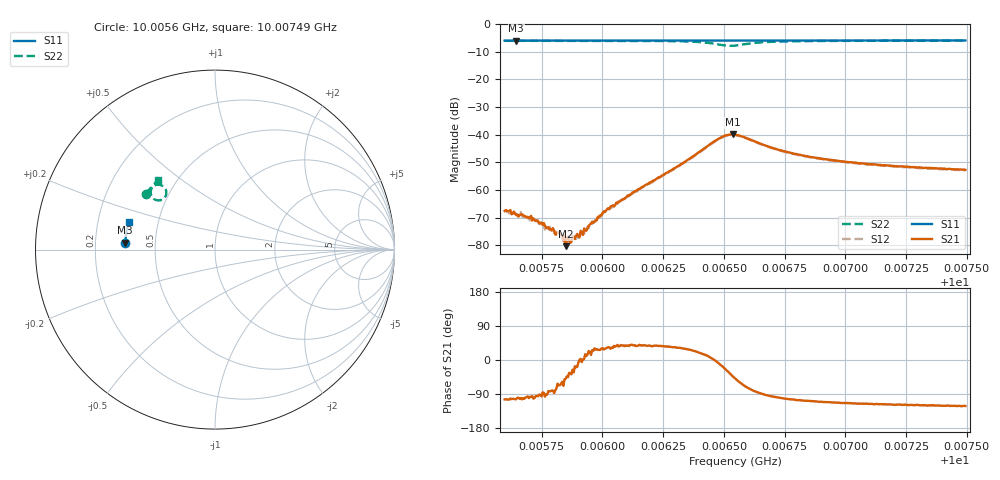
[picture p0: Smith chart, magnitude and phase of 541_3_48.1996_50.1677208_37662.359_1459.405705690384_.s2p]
#  HZ  S  RI  R  50.00
! Rohde & Schwarz Vector Network Analyzer
! Rohde-Schwarz,ZNB20-2Port,1311601062101988,3.16
! Created: UTC 3/20/2024, 12:00:18 PM
! freq[Hz]  re:S11  im:S11  re:S21  im:S21  re:S12  im:S12  re:S22  im:S22
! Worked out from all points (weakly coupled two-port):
!   401 points, 10.0056 GHz to 10.00749 GHz, reference 50 ohm
!   highest |S21| = -39.92 dB at 10.00654 GHz (marker M1); lowest = -80.3 dB at 10.00585 GHz (marker M2)
!   lowest |S11| = -6.0 dB at 10.00564 GHz (marker M3), VSWR 3.01, Z = 16.6 + j1.71 ohm
!   |S11| at or under -10 dB: nowhere
!   |S22| runs from -7.9 to -6.0 dB; largest |S21 - S12| = 0.00064
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1.0005597e10  -0.5001 0.0354  -0.000101 -0.000407  -0.000117 -0.000413  -0.3865 0.312
1.0005645e10  -0.4998 0.0385  -8.39e-05 -0.000347  -5.37e-05 -0.00035  -0.3844 0.3148
1.0005673e10  -0.4999 0.0404  -6.39e-05 -0.000349  -3.97e-05 -0.000328  -0.3832 0.3166
1.0005711e10  -0.4997 0.0429  -2.57e-05 -0.000279  -2.9e-05 -0.000301  -0.3814 0.3188
1.000573e10  -0.4997 0.0441  -2.48e-05 -0.000281  1.18e-06 -0.000282  -0.3804 0.32
1.0005768e10  -0.4995 0.0466  -2.5e-06 -0.000211  4.15e-05 -0.000211  -0.3787 0.3222
1.0005825e10  -0.4991 0.0502  6.4e-05 -0.000148  6.09e-05 -0.00016  -0.3758 0.3258
1.0005849e10  -0.4991 0.0519  6.28e-05 -7.36e-05  5.96e-05 -0.000107  -0.3744 0.3273
1.0005858e10  -0.499 0.0525  9.96e-05 -0.0001  7.9e-05 -9.34e-05  -0.3741 0.3279
1.0005877e10  -0.499 0.0536  0.000123 -5.91e-05  0.000123 -8.83e-05  -0.373 0.329
1.0005915e10  -0.4987 0.0559  0.000167 -1.59e-05  0.000171 7.13e-06  -0.3708 0.3316
1.000601e10  -0.4982 0.0623  0.000348 0.000198  0.000364 0.000204  -0.3647 0.3379
1.0006233e10  -0.4965 0.0767  0.00137 0.00103  0.00126 0.00105  -0.3442 0.3542
1.0006399e10  -0.495 0.0875  0.0046 0.00164  0.00438 0.00182  -0.3052 0.3605
1.0006479e10  -0.4936 0.0924  0.00842 -0.00129  0.00832 -0.00082  -0.2721 0.3282
1.0006536e10  -0.493 0.0954  0.00738 -0.00689  0.00762 -0.00633  -0.2914 0.2805
1.0006546e10  -0.493 0.0959  0.00664 -0.0075  0.00688 -0.007  -0.2997 0.2765
1.0006617e10  -0.4926 0.1004  0.0014 -0.00777  0.00179 -0.00755  -0.3467 0.2888
1.0006721e10  -0.4918 0.1072  -0.00082 -0.00533  -0.000549 -0.0053  -0.3583 0.3217
1.0006863e10  -0.4902 0.1164  -0.00123 -0.00373  -0.00108 -0.00368  -0.3522 0.3447
1.0007181e10  -0.4856 0.1364  -0.00125 -0.00246  -0.00113 -0.00248  -0.3344 0.3708
1.0007494e10  -0.4804 0.1561  -0.00121 -0.00198  -0.0011 -0.00199  -0.3179 0.3881
